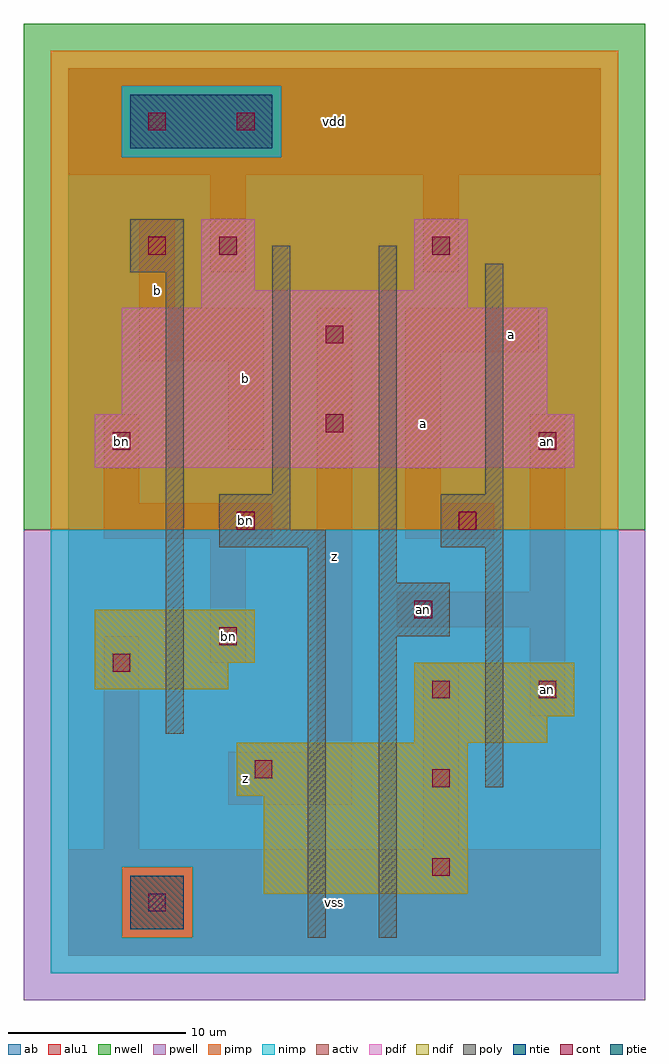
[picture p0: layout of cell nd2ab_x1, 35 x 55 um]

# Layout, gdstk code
import gdstk
lib = gdstk.Library(unit=1e-6, precision=1e-09)
def R(c, l, rs):  # rectangles x0, y0, x1, y1
    for r in rs: c.add(gdstk.rectangle(r[:2], r[2:], *l))
def A(c, l, x, y, w, h, nx, ny, dx, dy):  # array of equal rectangles
    R(c, l, [(x+i*dx, y+j*dy, x+i*dx+w, y+j*dy+h) for i in range(nx) for j in range(ny)])
ndif = (3, 0)
pdif = (4, 0)
ntie = (5, 0)
ptie = (6, 0)
cont = (25, 0)
pwell = (41, 0)
nwell = (42, 0)
activ = (43, 0)
pimp = (44, 0)
nimp = (45, 0)
poly = (46, 0)
alu1 = (49, 0)
ab = (63, 0)

nd2ab_x1 = lib.new_cell('nd2ab_x1')
R(nd2ab_x1, ndif, [(11,3.5,22.5,9), (9.5,9,22.5,12), (19.5,12,27,13.5), (19.5,13.5,28.5,16.5), (1.5,15,9,16.5), (1.5,16.5,10.5,19.5)])
R(nd2ab_x1, pdif, [(1.5,27.5,28.5,30.5), (3,30.5,27,36.5), (7.5,36.5,22.5,37.5), (7.5,37.5,10.5,41.5), (19.5,37.5,22.5,41.5)])
R(nd2ab_x1, ntie, [(3.5,45.5,11.5,48.5)])
R(nd2ab_x1, ptie, [(3.5,1.5,6.5,4.5)])
A(nd2ab_x1, cont, 20.5, 4.5, 1, 1, 1, 3, 0, 5)
R(nd2ab_x1, cont, [(4.5,2.5,5.5,3.5), (10.5,10,11.5,11), (26.5,14.5,27.5,15.5), (2.5,16,3.5,17), (8.5,17.5,9.5,18.5), (19.5,19,20.5,20), (9.5,24,10.5,25), (22,24,23,25), (2.5,28.5,3.5,29.5), (26.5,28.5,27.5,29.5), (14.5,29.5,15.5,30.5), (14.5,34.5,15.5,35.5), (4.5,39.5,5.5,40.5), (8.5,39.5,9.5,40.5), (20.5,39.5,21.5,40.5), (4.5,46.5,5.5,47.5), (9.5,46.5,10.5,47.5)])
R(nd2ab_x1, pwell, [(-2.5,-2.5,32.5,24)])
R(nd2ab_x1, nwell, [(-2.5,24,32.5,52.5)])
R(nd2ab_x1, activ, [(3.5,1.5,6.5,4.5), (11,3.5,22.5,9), (9.5,9,22.5,12), (19.5,12,27,13.5), (19.5,13.5,28.5,16.5), (1.5,15,9,16.5), (1.5,16.5,10.5,19.5), (1.5,27.5,28.5,30.5), (3,30.5,27,36.5), (7.5,36.5,22.5,37.5), (7.5,37.5,10.5,41.5), (19.5,37.5,22.5,41.5), (3.5,45.5,11.5,48.5)])
R(nd2ab_x1, pimp, [(3,1,7,5), (-1,24,31,45), (-1,45,3,49), (12,45,31,49), (-1,49,31,51)])
R(nd2ab_x1, nimp, [(-1,-1,31,1), (-1,1,3,5), (7,1,31,5), (-1,5,31,24), (3,45,12,49)])
R(nd2ab_x1, poly, [(13.5,1,14.5,23), (17.5,1,18.5,18), (23.5,9.5,24.5,23), (5.5,12.5,6.5,38.5), (17.5,18,21.5,21), (17.5,21,18.5,40), (8.5,23,14.5,24), (21,23,24.5,26), (8.5,24,12.5,26), (11.5,26,12.5,40), (23.5,26,24.5,39), (3.5,38.5,6.5,41.5)])
R(nd2ab_x1, alu1, [(0,0,30,6), (0,0,30,6), (2,6,4,18), (2,6,4,18), (20,6,22,16.5), (20,6,22,16.5), (9,8.5,16,11.5), (9,8.5,16,11.5), (14,11.5,16,36.5), (14,11.5,16,36.5), (26,13.5,28,18.5), (26,13.5,28,18.5), (8,16.5,10,23.5), (8,16.5,10,23.5), (18.5,18.5,28,20.5), (18.5,18.5,28,20.5), (26,20.5,28,30.5), (26,20.5,28,30.5), (2,23.5,11.5,25.5), (2,23.5,11.5,25.5), (19,23.5,24,25.5), (19,23.5,24,25.5), (2,25.5,4,30.5), (2,25.5,4,30.5), (19,25.5,21,34), (19,25.5,21,34), (9,28.5,11,33.5), (9,28.5,11,33.5), (4,33.5,11,36.5), (4,33.5,11,36.5), (19,34,26.5,36.5), (19,34,26.5,36.5), (4,36.5,6,41.5), (4,36.5,6,41.5), (8,38.5,10,44), (8,38.5,10,44), (20,38.5,22,44), (20,38.5,22,44), (0,44,30,50), (0,44,30,50)])
R(nd2ab_x1, ab, [(0,0,30,50)])
nd2ab_x1.add(gdstk.Label('bn', (9,18), layer=49, texttype=0))
nd2ab_x1.add(gdstk.Label('bn', (3,29), layer=49, texttype=0))
nd2ab_x1.add(gdstk.Label('bn', (10,24.5), layer=49, texttype=0))
nd2ab_x1.add(gdstk.Label('an', (27,15), layer=49, texttype=0))
nd2ab_x1.add(gdstk.Label('an', (20,19.5), layer=49, texttype=0))
nd2ab_x1.add(gdstk.Label('an', (27,29), layer=49, texttype=0))
nd2ab_x1.add(gdstk.Label('b', (5,37.5), layer=49, texttype=0))
nd2ab_x1.add(gdstk.Label('z', (10,10), layer=49, texttype=0))
nd2ab_x1.add(gdstk.Label('b', (10,32.5), layer=49, texttype=0))
nd2ab_x1.add(gdstk.Label('vss', (15,3), layer=49, texttype=0))
nd2ab_x1.add(gdstk.Label('z', (15,22.5), layer=49, texttype=0))
nd2ab_x1.add(gdstk.Label('a', (20,30), layer=49, texttype=0))
nd2ab_x1.add(gdstk.Label('vdd', (15,47), layer=49, texttype=0))
nd2ab_x1.add(gdstk.Label('a', (25,35), layer=49, texttype=0))

lib.write_gds('nd2ab_x1.gds')
